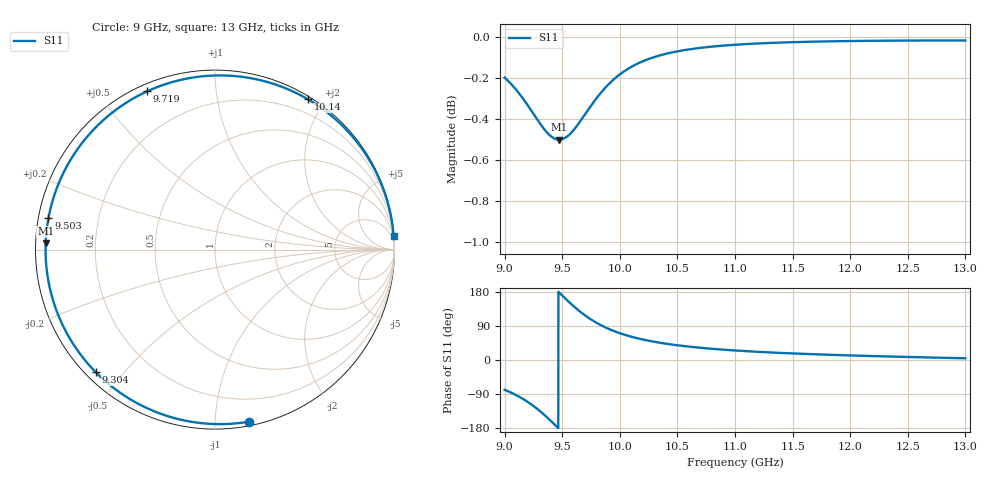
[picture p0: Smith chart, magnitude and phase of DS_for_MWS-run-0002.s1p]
! TOUCHSTONE file generated by CST DESIGN STUDIO
! Date and time: Tue Feb  4 14:06:45 2025
! Project name: C:\Work\MatlabApps\UnitCellOptimizationMatlab\CST\unitcell.cst
! Tree item: Tasks\Sweep1\SPara1\S-Parameters
! Header version: 2024
! Port assignment regex: !\s*Touchstone port\s*([0-9]+)\s*=\s*(CST MWS port|CST DES external port|CST DES block port)\s*(.+)\s* \(\"(.*)\"\)(\s*mode\s*([0-9]+))?.*
! Touchstone port assignment:
! Touchstone port 1 = CST DES external port 1 ("")
# GHz S MA R 50
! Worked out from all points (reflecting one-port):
!   4001 points, 9 GHz to 13 GHz, reference 50 ohm
!   lowest |S11| = -0.5 dB at 9.474 GHz (marker M1), VSWR 34.75, Z = 1.44 + j0.942 ohm
!   phase of S11 starts at -79 deg and turns -277 deg over the sweep
!   S11 on the Smith chart (normalised r, x): 9 GHz: 0.03, -1.22; 9.304 GHz: 0.03, -0.42; 9.503 GHz: 0.03, +0.09; 9.719 GHz: 0.03, +0.66; 10.14 GHz: 0.03, +1.79; 13 GHz: 1, +25
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9  0.9774 -78.7
9.075  0.9726 -88.8
9.172  0.965 -105.0
9.24  0.9588 -118.9
9.304  0.9529 -134.1
9.349  0.9492 -146.0
9.396  0.9462 -159.2
9.436  0.9446 -170.9
9.474  0.9441 177.8
9.5  0.9443 170.1
9.503  0.9444 169.2
9.555  0.9463 154.1
9.614  0.9503 138.0
9.666  0.9547 125.1
9.719  0.9594 113.2
9.775  0.9643 102.2
9.837  0.9693 91.7
9.917  0.9747 80.3
10  0.9792 70.7
10.14  0.9847 58.3
10.303  0.9888 47.9
10.5  0.9919 38.9
10.722  0.994 31.6
11  0.9956 25.1
11.5  0.997 17.3
12  0.9976 12.0
12.5  0.9979 8.0
13  0.9979 4.5
